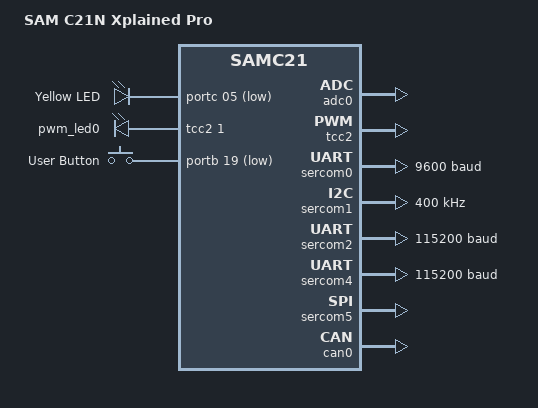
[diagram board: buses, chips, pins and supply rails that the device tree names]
/*
 * Copyright (c) 2022 Kamil Serwus
 *
 * SPDX-License-Identifier: Apache-2.0
 */

/dts-v1/;

#include <atmel/samc21.dtsi>
#include <atmel/samx2xx18.dtsi>
#include "samc21n_xpro-pinctrl.dtsi"
#include <zephyr/dt-bindings/input/input-event-codes.h>

/ {
	model = "SAM C21N Xplained Pro";
	compatible = "samc21n,xpro", "atmel,samc21n18a", "atmel,samc21";

	chosen {
		zephyr,console = &sercom4;
		zephyr,shell-uart = &sercom4;
		zephyr,sram = &sram0;
		zephyr,flash = &flash0;
		zephyr,canbus = &can0;
	};

	/* These aliases are provided for compatibility with samples */
	aliases {
		led0 = &led0;
		pwm-led0 = &pwm_led0;
		sw0 = &user_button;
		i2c-0 = &sercom1;
	};

	leds {
		compatible = "gpio-leds";
		led0: led_0 {
			gpios = <&portc 05 GPIO_ACTIVE_LOW>;
			label = "Yellow LED";
		};
	};

	pwmleds {
		compatible = "pwm-leds";
		pwm_led0: pwm_led_0 {
			pwms = <&tcc2 1 PWM_MSEC(20)>;
		};
	};

	buttons {
		compatible = "gpio-keys";
		user_button: button_0 {
			gpios = <&portb 19 (GPIO_PULL_UP | GPIO_ACTIVE_LOW)>;
			label = "User Button";
			zephyr,code = <INPUT_KEY_0>;
		};
	};

};

&cpu0 {
	clock-frequency = <48000000>;
};

&adc0 {
	status = "okay";
	pinctrl-0 = <&adc0_default>;
	pinctrl-names = "default";
};

&adc1 {
	pinctrl-0 = <&adc1_default>;
	pinctrl-names = "default";
};

&tcc2 {
	status = "okay";
	compatible = "atmel,sam0-tcc-pwm";
	prescaler = <256>;
	#pwm-cells = <2>;

	pinctrl-0 = <&pwm_default>;
	pinctrl-names = "default";
};

&sercom0 {
	status = "okay";
	compatible = "atmel,sam0-uart";
	current-speed = <9600>;
	rxpo = <1>;
	txpo = <0>;

	pinctrl-0 = <&sercom0_uart_default>;
	pinctrl-names = "default";
};

&sercom1 {
	status = "okay";
	compatible = "atmel,sam0-i2c";
	clock-frequency = <I2C_BITRATE_FAST>;
	#address-cells = <1>;
	#size-cells = <0>;

	pinctrl-0 = <&sercom1_i2c_default>;
	pinctrl-names = "default";
};

&sercom2 {
	status = "okay";
	compatible = "atmel,sam0-uart";
	current-speed = <115200>;
	rxpo = <1>;
	txpo = <0>;

	pinctrl-0 = <&sercom2_uart_default>;
	pinctrl-names = "default";
};

&sercom4 {
	status = "okay";
	compatible = "atmel,sam0-uart";
	current-speed = <115200>;
	rxpo = <3>;
	txpo = <1>;

	pinctrl-0 = <&sercom4_uart_default>;
	pinctrl-names = "default";
};

&sercom5 {
	status = "okay";
	compatible = "atmel,sam0-spi";
	dipo = <0>;
	dopo = <2>;
	#address-cells = <1>;
	#size-cells = <0>;

	pinctrl-0 = <&sercom5_spi_default>;
	pinctrl-names = "default";
};

&flash0 {
	partitions {
		compatible = "fixed-partitions";
		#address-cells = <1>;
		#size-cells = <1>;

		/*
		 * The final 16 KiB is reserved for the application.
		 * Storage partition will be used by FCB/LittleFS/NVS
		 * if enabled.
		 */
		storage_partition: partition@3c000 {
			label = "storage";
			reg = <0x0003c000 0x00004000>;
		};
	};
};

&can0 {
	status = "okay";

	pinctrl-0 = <&can0_default>;
	pinctrl-names = "default";

	can-transceiver {
		max-bitrate = <5000000>;
	};
};

&can1 {
	pinctrl-0 = <&can1_default>;
	pinctrl-names = "default";

	can-transceiver {
		max-bitrate = <5000000>;
	};
};
